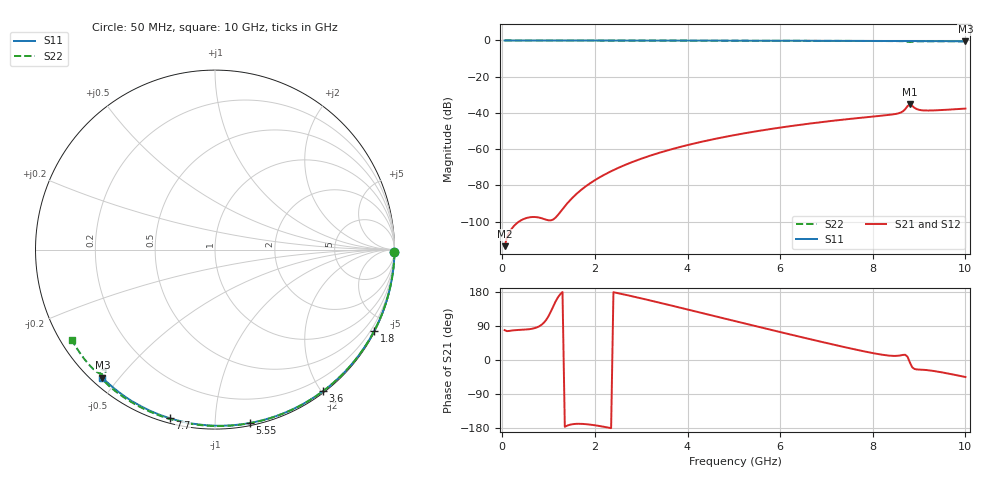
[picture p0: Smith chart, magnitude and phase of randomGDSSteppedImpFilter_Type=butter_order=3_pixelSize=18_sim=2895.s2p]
! freq	dB(S11)	phase(S11)	dB(S12)	phase(S12)
!  dB(S21)	phase(S21)	dB(S22)	phase(S22)
!S-par simulation data
#  GHz  S  DB  R 50
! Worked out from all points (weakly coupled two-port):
!   200 points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, 50 MHz to 10 GHz, reference 50 ohm
!   highest |S21| = -35.26 dB at 8.8 GHz (marker M1); lowest = -113.6 dB at 50 MHz (marker M2)
!   lowest |S11| = -0.4 dB at 10 GHz (marker M3), VSWR 39.19, Z = 1.54 - j22.6 ohm
!   |S11| at or under -10 dB: nowhere
!   |S22| runs from -0.9 to 0.0 dB; largest |S21 - S12| = 0
!   S11 on the Smith chart (normalised r, x): 50 MHz: open; 1.8 GHz: 0.04, -4.18; 3.6 GHz: 0.02, -2.02; 5.55 GHz: 0.02, -1.22; 7.7 GHz: 0.02, -0.77; 10 GHz: 0.03, -0.45
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0.05  -0.00 -0.8  -113.57 78.8  -113.57 78.8  -0.00 -0.9
0.9  -0.02 -13.6  -98.57 98.7  -98.57 98.7  -0.02 -15.4
1.75  -0.03 -26.2  -81.55 -168.8  -81.55 -168.8  -0.04 -29.6
1.8  -0.03 -26.9  -80.58 -169.2  -80.58 -169.2  -0.04 -30.5
1.85  -0.04 -27.6  -79.66 -169.8  -79.66 -169.8  -0.04 -31.3
2.25  -0.04 -33.5  -73.50 -177.5  -73.50 -177.5  -0.05 -37.9
2.55  -0.05 -37.8  -69.83 175.0  -69.83 175.0  -0.05 -42.7
2.95  -0.06 -43.5  -65.75 164.1  -65.75 164.1  -0.06 -49.1
3.4  -0.07 -49.8  -61.94 151.1  -61.94 151.1  -0.07 -56.2
3.6  -0.07 -52.6  -60.45 145.2  -60.45 145.2  -0.08 -59.4
4.3  -0.09 -62.2  -55.96 124.4  -55.96 124.4  -0.10 -70.1
5.05  -0.11 -72.1  -52.07 101.9  -52.07 101.9  -0.12 -81.2
5.55  -0.13 -78.6  -49.87 87.0  -49.87 87.0  -0.14 -88.4
6.7  -0.18 -93.0  -45.69 53.4  -45.69 53.4  -0.20 -104.4
7.7  -0.24 -105.0  -42.79 25.7  -42.79 25.7  -0.27 -118.0
8.35  -0.29 -112.6  -41.10 11.6  -41.10 11.6  -0.33 -126.9
8.6  -0.31 -115.4  -39.84 12.2  -39.84 12.2  -0.39 -130.8
8.65  -0.31 -116.0  -39.15 13.4  -39.15 13.4  -0.44 -131.8
8.8  -0.32 -117.7  -35.26 -6.1  -35.26 -6.1  -0.87 -132.3
8.95  -0.33 -119.4  -37.89 -24.9  -37.89 -24.9  -0.51 -132.9
9.1  -0.35 -121.2  -38.63 -25.8  -38.63 -25.8  -0.45 -135.4
10  -0.44 -131.3  -37.61 -44.9  -37.61 -44.9  -0.51 -147.7
